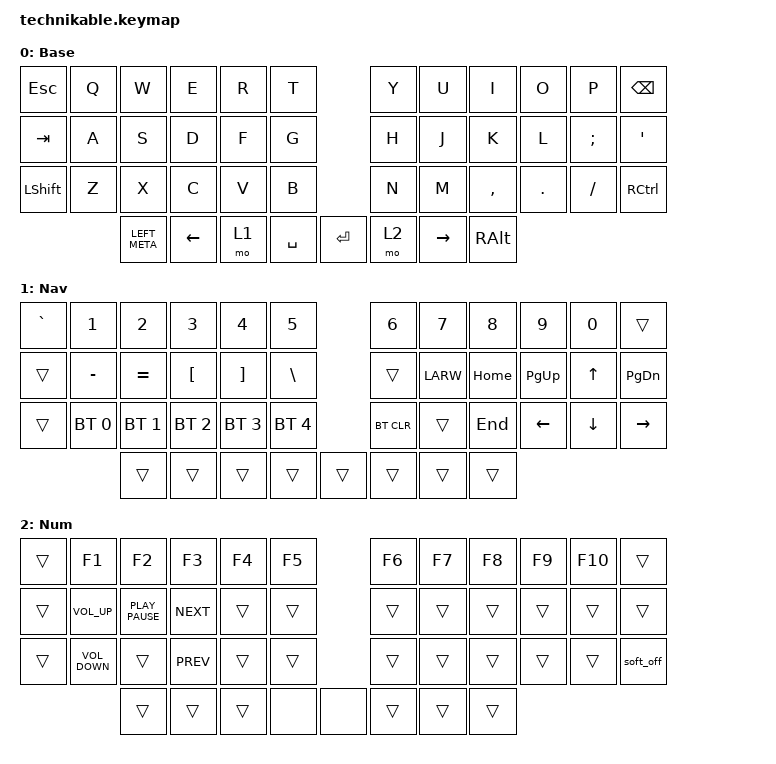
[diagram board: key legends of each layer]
/*
 * Copyright (c) 2022 Pete Johanson
 *
 * SPDX-License-Identifier: MIT
 */

#include <behaviors.dtsi>
#include <dt-bindings/zmk/bt.h>
#include <dt-bindings/zmk/keys.h>

#define BAS_L 0
#define NAV_L 1
#define NUM_L 2
#define SYM_L 3

// Using layer taps on thumbs, having quick tap as well helps w/ repeating space/backspace

&lt { quick_tap_ms = <200>; };

/ {
    chosen { zmk,matrix_transform = &ortho_transform; };

    conditional_layers {
        compatible = "zmk,conditional-layers";

        tri_layer {
            if-layers = <1 2>;
            then-layer = <3>;
        };
    };

    keymap {
        compatible = "zmk,keymap";

        base_layer {
            label = "Base";
            bindings = <
&kp ESC    &kp Q  &kp W          &kp E           &kp R  &kp T                  &kp Y  &kp U            &kp I          &kp O    &kp P     &kp BACKSPACE
&kp TAB    &kp A  &kp S          &kp D           &kp F  &kp G                  &kp H  &kp J            &kp K          &kp L    &kp SEMI  &kp APOSTROPHE
&kp LSHFT  &kp Z  &kp X          &kp C           &kp V  &kp B                  &kp N  &kp M            &kp COMMA      &kp DOT  &kp FSLH  &kp RCTRL
                  &kp LEFT_META  &kp LEFT_ARROW  &mo 1  &kp SPACE  &kp RETURN  &mo 2  &kp RIGHT_ARROW  &kp RIGHT_ALT
            >;
        };

        nav_layer {
            label = "Nav";
            bindings = <
&kp GRAVE  &kp NUMBER_1  &kp NUMBER_2  &kp NUMBER_3      &kp NUMBER_4       &kp NUMBER_5           &kp NUMBER_6  &kp NUMBER_7  &kp NUMBER_8  &kp NUMBER_9    &kp NUMBER_0    &trans
&trans     &kp MINUS     &kp EQUAL     &kp LEFT_BRACKET  &kp RIGHT_BRACKET  &kp BACKSLASH          &trans        &kp LARW      &kp HOME      &kp PAGE_UP     &kp UP_ARROW    &kp PAGE_DOWN
&trans     &bt BT_SEL 0  &bt BT_SEL 1  &bt BT_SEL 2      &bt BT_SEL 3       &bt BT_SEL 4           &bt BT_CLR    &trans        &kp END       &kp LEFT_ARROW  &kp DOWN_ARROW  &kp RIGHT_ARROW
                         &trans        &trans            &trans             &trans         &trans  &trans        &trans        &trans
            >;
        };

        num_layer {
            label = "Num";
            bindings = <
&trans  &kp F1             &kp F2            &kp F3      &kp F4  &kp F5         &kp F6  &kp F7  &kp F8  &kp F9  &kp F10  &trans
&trans  &kp K_VOLUME_UP    &kp K_PLAY_PAUSE  &kp K_NEXT  &trans  &trans         &trans  &trans  &trans  &trans  &trans   &trans
&trans  &kp K_VOLUME_DOWN  &trans            &kp K_PREV  &trans  &trans         &trans  &trans  &trans  &trans  &trans   &soft_off
                           &trans            &trans      &trans  &none   &none  &trans  &trans  &trans
            >;
        };
    };
};
